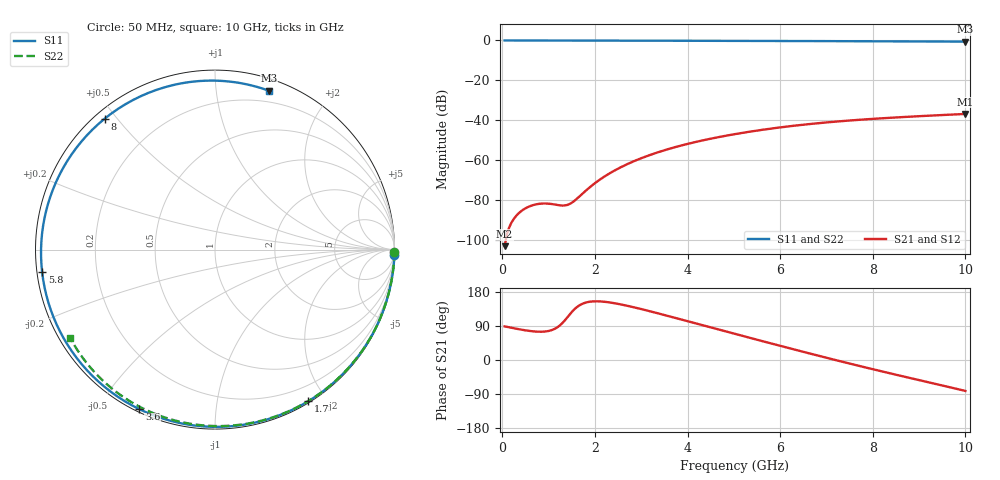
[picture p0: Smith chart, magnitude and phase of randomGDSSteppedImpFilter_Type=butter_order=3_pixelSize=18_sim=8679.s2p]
! freq	dB(S11)	phase(S11)	dB(S12)	phase(S12)
!  dB(S21)	phase(S21)	dB(S22)	phase(S22)
!S-par simulation data
#  GHz  S  DB  R 50
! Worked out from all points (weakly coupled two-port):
!   200 points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, 50 MHz to 10 GHz, reference 50 ohm
!   highest |S21| = -36.86 dB at 10 GHz (marker M1); lowest = -103.2 dB at 50 MHz (marker M2)
!   lowest |S11| = -0.6 dB at 10 GHz (marker M3), VSWR 29.58, Z = 4.98 + j69.6 ohm
!   |S11| at or under -10 dB: nowhere
!   |S22| runs from -0.5 to 0.0 dB; largest |S21 - S12| = 0
!   S11 on the Smith chart (normalised r, x): 50 MHz: 0, -64; 1.7 GHz: 0.02, -1.79; 3.6 GHz: 0.01, -0.63; 5.8 GHz: 0.01, -0.07; 8 GHz: 0.03, +0.47; 10 GHz: 0.10, +1.39
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0.05  -0.00 -1.8  -103.16 88.7  -103.16 88.7  -0.00 -0.9
0.4  -0.02 -14.2  -85.73 80.3  -85.73 80.3  -0.01 -6.9
0.75  -0.03 -26.4  -82.09 74.8  -82.09 74.8  -0.02 -12.9
1.55  -0.07 -53.5  -80.56 133.0  -80.56 133.0  -0.03 -26.4
1.6  -0.07 -55.2  -79.60 138.5  -79.60 138.5  -0.03 -27.2
1.7  -0.07 -58.5  -77.50 146.6  -77.50 146.6  -0.04 -28.9
1.75  -0.07 -60.1  -76.44 149.4  -76.44 149.4  -0.04 -29.8
2.1  -0.09 -71.2  -69.88 154.7  -69.88 154.7  -0.05 -35.5
2.45  -0.10 -82.1  -64.90 149.3  -64.90 149.3  -0.05 -41.3
2.9  -0.12 -95.5  -59.99 137.4  -59.99 137.4  -0.06 -48.6
3.4  -0.13 -109.8  -55.79 122.0  -55.79 122.0  -0.07 -56.5
3.6  -0.14 -115.3  -54.37 115.5  -54.37 115.5  -0.08 -59.6
4.35  -0.17 -135.5  -49.99 90.9  -49.99 90.9  -0.10 -71.1
5.05  -0.21 -153.5  -46.86 68.1  -46.86 68.1  -0.12 -81.5
5.8  -0.25 -172.5  -44.21 43.8  -44.21 43.8  -0.16 -92.3
6.7  -0.31 164.6  -41.77 15.2  -41.77 15.2  -0.20 -104.8
7.35  -0.36 147.6  -40.41 -4.9  -40.41 -4.9  -0.24 -113.6
8  -0.41 130.1  -39.32 -24.3  -39.32 -24.3  -0.29 -122.3
8.35  -0.44 120.3  -38.81 -34.5  -38.81 -34.5  -0.32 -126.9
9.2  -0.51 95.6  -37.74 -58.8  -37.74 -58.8  -0.40 -138.1
9.6  -0.55 83.5  -37.28 -70.1  -37.28 -70.1  -0.45 -143.3
10  -0.59 71.2  -36.86 -81.6  -36.86 -81.6  -0.49 -148.6
